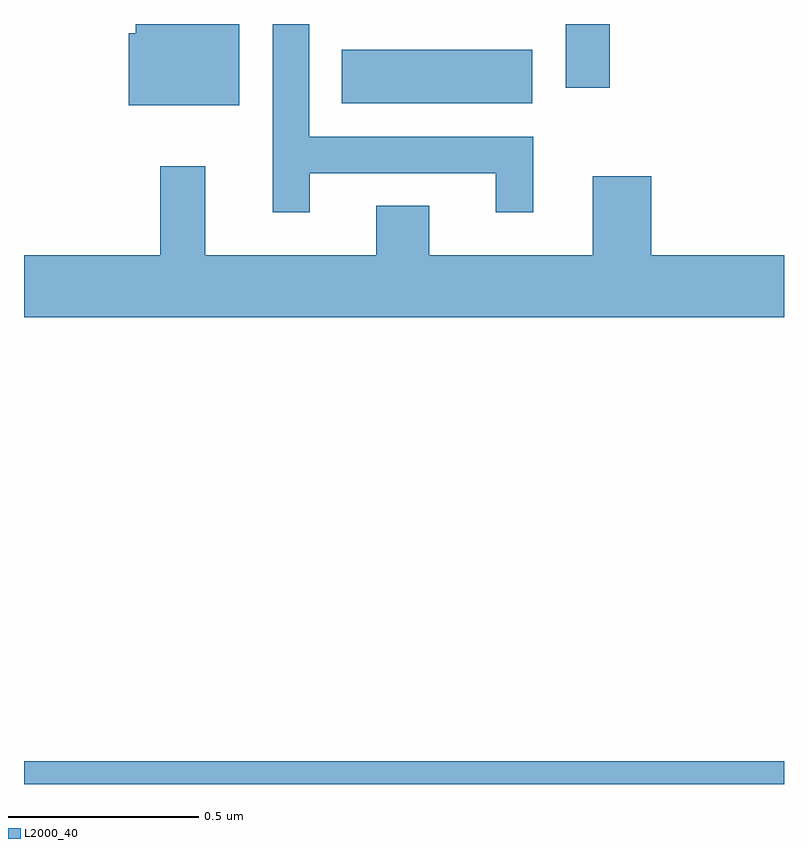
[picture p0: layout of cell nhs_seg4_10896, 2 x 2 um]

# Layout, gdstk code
import gdstk
lib = gdstk.Library(unit=1e-6, precision=1e-09)
def R(c, l, rs):  # rectangles x0, y0, x1, y1
    for r in rs: c.add(gdstk.rectangle(r[:2], r[2:], *l))
def P(c, l, *ps):  # polygons
    for p in ps: c.add(gdstk.Polygon(p, *l))
L2000_40 = (2000, 40)

nhs_seg4_10896 = lib.new_cell('nhs_seg4_10896')
R(nhs_seg4_10896, L2000_40, [(245,820.9,247,820.96), (245.836,822.692,246.337,822.832), (246.426,822.732,246.542,822.9)])
P(nhs_seg4_10896, L2000_40, [(245.752,822.507),(246.242,822.507),(246.242,822.405),(246.34,822.405),(246.34,822.603),(245.751,822.603),(245.751,822.9),(245.655,822.9),(245.655,822.405),(245.752,822.405)],
  [(245.566,822.9),(245.294,822.9),(245.294,822.876),(245.276,822.876),(245.276,822.686),(245.566,822.686)],
  [(247,822.292),(246.65,822.292),(246.65,822.499),(246.497,822.499),(246.497,822.292),(246.067,822.292),(246.067,822.422),(245.927,822.422),(245.927,822.292),(245.477,822.292),(245.477,822.526),(245.359,822.526),(245.359,822.292),(245,822.292),(245,822.128),(247,822.128)])

lib.write_gds('nhs_seg4_10896.gds')
